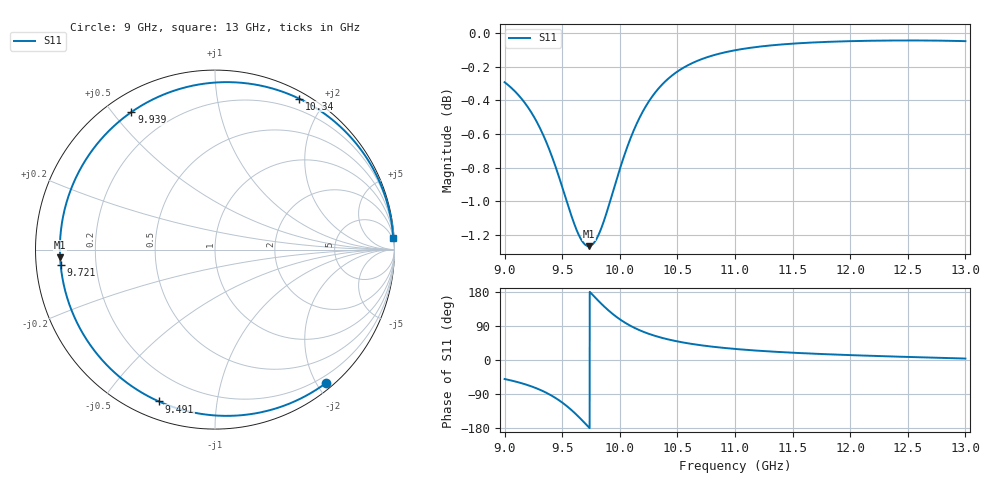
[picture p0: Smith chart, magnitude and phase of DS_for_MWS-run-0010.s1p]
! TOUCHSTONE file generated by CST DESIGN STUDIO
! Date and time: Tue Feb  4 18:31:41 2025
! Project name: C:\Work\MatlabApps\UnitCellOptimizationMatlab\CST\unitcell.cst
! Tree item: Tasks\Sweep1\SPara1\S-Parameters
! Header version: 2024
! Port assignment regex: !\s*Touchstone port\s*([0-9]+)\s*=\s*(CST MWS port|CST DES external port|CST DES block port)\s*(.+)\s* \(\"(.*)\"\)(\s*mode\s*([0-9]+))?.*
! Touchstone port assignment:
! Touchstone port 1 = CST DES external port 1 ("")
# GHz S MA R 50
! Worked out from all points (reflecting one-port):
!   4001 points, 9 GHz to 13 GHz, reference 50 ohm
!   lowest |S11| = -1.3 dB at 9.73 GHz (marker M1), VSWR 13.72, Z = 3.65 - j1.21 ohm
!   phase of S11 starts at -50 deg and turns -306 deg over the sweep
!   S11 on the Smith chart (normalised r, x): 9 GHz: 0.09, -2.13; 9.491 GHz: 0.08, -0.69; 9.721 GHz: 0.07, -0.05; 9.939 GHz: 0.07, +0.56; 10.34 GHz: 0.07, +1.70; 13 GHz: 2, +30
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9  0.967 -50.2
9.135  0.9572 -60.2
9.261  0.9435 -72.8
9.391  0.9228 -91.1
9.443  0.9124 -100.4
9.491  0.902 -110.3
9.5  0.9 -112.2
9.553  0.8881 -124.9
9.605  0.8774 -138.9
9.666  0.8679 -156.9
9.721  0.8642 -174.3
9.73  0.8642 -177.2
9.775  0.8661 168.4
9.821  0.8717 154.0
9.881  0.8833 136.5
9.939  0.8967 121.3
10  0.911 107.4
10.075  0.9271 93.2
10.164  0.9426 79.6
10.247  0.9538 69.6
10.336  0.9628 61.0
10.5  0.9741 49.1
10.718  0.9826 38.4
11  0.9884 29.2
11.5  0.9929 19.2
12  0.9946 12.9
12.5  0.9951 8.1
13  0.9946 3.8
